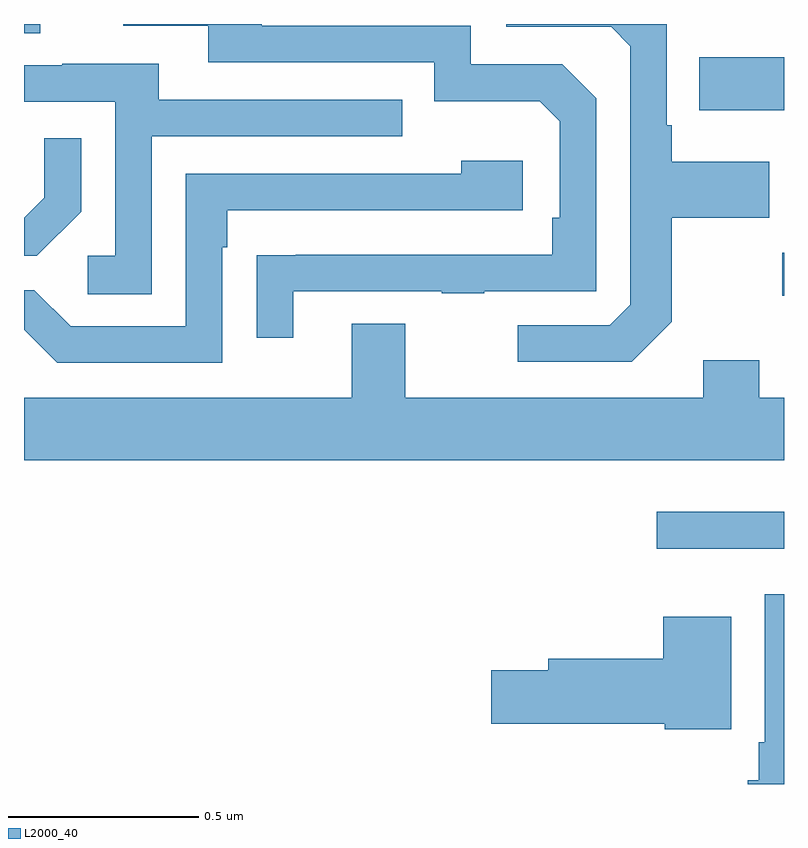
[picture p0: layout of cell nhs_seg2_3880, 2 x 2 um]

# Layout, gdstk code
import gdstk
lib = gdstk.Library(unit=1e-6, precision=1e-09)
def R(c, l, rs):  # rectangles x0, y0, x1, y1
    for r in rs: c.add(gdstk.rectangle(r[:2], r[2:], *l))
def P(c, l, *ps):  # polygons
    for p in ps: c.add(gdstk.Polygon(p, *l))
L2000_40 = (2000, 40)

nhs_seg2_3880 = lib.new_cell('nhs_seg2_3880')
R(nhs_seg2_3880, L2000_40, [(160.665,631.419,161,631.516), (160.995,632.085,161,632.198), (160.777,632.573,161,632.713), (159,632.776,159.043,632.8)])
P(nhs_seg2_3880, L2000_40, [(159.709,632.097),(160.099,632.097),(160.099,632.092),(160.211,632.092),(160.211,632.097),(160.506,632.097),(160.506,632.604),(160.416,632.694),(160.176,632.694),(160.176,632.796),(159.625,632.796),(159.625,632.8),(159.261,632.8),(159.261,632.796),(159.485,632.796),(159.485,632.7),(160.08,632.7),(160.08,632.597),(160.357,632.597),(160.41,632.544),(160.41,632.29),(160.39,632.29),(160.39,632.193),(159.715,632.193),(159.715,632.192),(159.613,632.192),(159.613,631.974),(159.709,631.974)],
  [(160.705,632.017),(160.705,632.29),(160.961,632.29),(160.961,632.437),(160.705,632.437),(160.705,632.533),(160.692,632.533),(160.692,632.8),(160.269,632.8),(160.269,632.793),(160.545,632.793),(160.596,632.742),(160.596,632.061),(160.542,632.007),(160.299,632.007),(160.299,631.911),(160.599,631.911)],
  [(159.336,632.505),(159.995,632.505),(159.995,632.601),(159.355,632.601),(159.355,632.695),(159.101,632.695),(159.101,632.691),(159,632.691),(159,632.595),(159.24,632.595),(159.24,632.19),(159.168,632.19),(159.168,632.089),(159.336,632.089)],
  [(159.15,632.306),(159.15,632.5),(159.053,632.5),(159.053,632.343),(159,632.29),(159,632.19),(159.034,632.19)],
  [(159.522,632.213),(159.535,632.213),(159.535,632.31),(160.312,632.31),(160.312,632.44),(160.151,632.44),(160.151,632.406),(159.426,632.406),(159.426,632.004),(159.123,632.004),(159.027,632.1),(159,632.1),(159,631.995),(159.087,631.908),(159.522,631.908)],
  [(161,631.816),(160.935,631.816),(160.935,631.915),(160.787,631.915),(160.787,631.816),(160.003,631.816),(160.003,632.011),(159.863,632.011),(159.863,631.816),(159,631.816),(159,631.652),(161,631.652)],
  [(161,631.3),(160.949,631.3),(160.949,630.91),(160.934,630.91),(160.934,630.81),(160.904,630.81),(160.904,630.8),(161,630.8)],
  [(160.861,631.24),(160.682,631.24),(160.682,631.13),(160.379,631.13),(160.379,631.1),(160.23,631.1),(160.23,630.958),(160.686,630.958),(160.686,630.944),(160.861,630.944)])

lib.write_gds('nhs_seg2_3880.gds')
